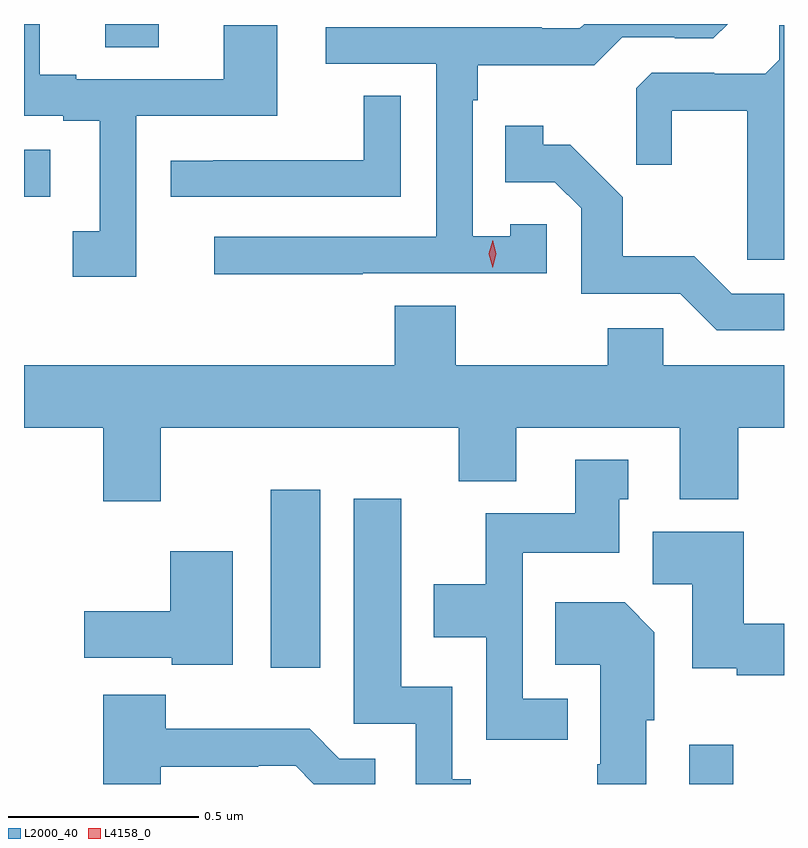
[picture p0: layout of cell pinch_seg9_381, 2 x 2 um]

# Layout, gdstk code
import gdstk
lib = gdstk.Library(unit=1e-6, precision=1e-09)
def R(c, l, rs):  # rectangles x0, y0, x1, y1
    for r in rs: c.add(gdstk.rectangle(r[:2], r[2:], *l))
def P(c, l, *ps):  # polygons
    for p in ps: c.add(gdstk.Polygon(p, *l))
L2000_40 = (2000, 40)
L4158_0 = (4158, 0)

pinch_seg9_381 = lib.new_cell('pinch_seg9_381')
R(pinch_seg9_381, L2000_40, [(379.584,1210.134,379.7,1210.237), (378.482,1210.44,378.613,1210.909), (377.833,1211.679,377.902,1211.803), (378.047,1212.073,378.187,1212.134)])
P(pinch_seg9_381, L2000_40, [(378.129,1211.892),(378.499,1211.892),(378.499,1212.131),(378.359,1212.131),(378.359,1211.988),(377.971,1211.988),(377.971,1212.001),(377.875,1212.001),(377.875,1212.134),(377.833,1212.134),(377.833,1211.892),(377.936,1211.892),(377.936,1211.88),(378.032,1211.88),(378.032,1211.589),(377.961,1211.589),(377.961,1211.469),(378.129,1211.469)],
  [(378.725,1211.478),(379.209,1211.478),(379.209,1211.607),(379.113,1211.607),(379.113,1211.575),(379.014,1211.575),(379.014,1211.933),(379.027,1211.933),(379.027,1212.026),(379.334,1212.026),(379.407,1212.099),(379.546,1212.099),(379.546,1212.096),(379.647,1212.096),(379.685,1212.134),(379.307,1212.134),(379.296,1212.123),(379.196,1212.123),(379.196,1212.126),(378.627,1212.126),(378.627,1212.03),(378.918,1212.03),(378.918,1211.574),(378.333,1211.574),(378.333,1211.476),(378.725,1211.476)],
  [(379.833,1212.131),(379.821,1212.131),(379.821,1212.04),(379.784,1212.003),(379.65,1212.003),(379.65,1212.006),(379.485,1212.006),(379.444,1211.965),(379.444,1211.763),(379.538,1211.763),(379.538,1211.906),(379.736,1211.906),(379.736,1211.514),(379.833,1211.514)],
  [(378.825,1211.945),(378.727,1211.945),(378.727,1211.775),(378.331,1211.775),(378.331,1211.774),(378.219,1211.774),(378.219,1211.679),(378.825,1211.679)],
  [(379.833,1211.424),(379.695,1211.424),(379.597,1211.523),(379.408,1211.523),(379.408,1211.678),(379.27,1211.816),(379.2,1211.816),(379.2,1211.866),(379.099,1211.866),(379.099,1211.718),(379.23,1211.718),(379.299,1211.649),(379.299,1211.424),(379.56,1211.424),(379.656,1211.328),(379.833,1211.328)],
  [(378.193,1211.072),(378.977,1211.072),(378.977,1210.931),(379.129,1210.931),(379.129,1211.072),(379.559,1211.072),(379.559,1210.883),(379.712,1210.883),(379.712,1211.072),(379.833,1211.072),(379.833,1211.236),(379.515,1211.236),(379.515,1211.334),(379.369,1211.334),(379.369,1211.236),(378.969,1211.236),(378.969,1211.393),(378.809,1211.393),(378.809,1211.236),(377.833,1211.236),(377.833,1211.072),(378.041,1211.072),(378.041,1210.878),(378.193,1210.878)],
  [(379.264,1210.359),(379.146,1210.359),(379.146,1210.742),(379.399,1210.742),(379.399,1210.884),(379.423,1210.884),(379.423,1210.987),(379.283,1210.987),(379.283,1210.846),(379.048,1210.846),(379.048,1210.66),(378.911,1210.66),(378.911,1210.52),(379.05,1210.52),(379.05,1210.251),(379.264,1210.251)],
  [(379.008,1210.146),(378.96,1210.146),(378.96,1210.39),(378.826,1210.39),(378.826,1210.885),(378.701,1210.885),(378.701,1210.293),(378.864,1210.293),(378.864,1210.134),(379.008,1210.134)],
  [(379.833,1210.556),(379.727,1210.556),(379.727,1210.798),(379.487,1210.798),(379.487,1210.66),(379.592,1210.66),(379.592,1210.439),(379.708,1210.439),(379.708,1210.42),(379.833,1210.42)],
  [(378.382,1210.747),(378.218,1210.747),(378.218,1210.588),(377.991,1210.588),(377.991,1210.466),(378.222,1210.466),(378.222,1210.448),(378.382,1210.448)],
  [(379.471,1210.302),(379.492,1210.302),(379.492,1210.534),(379.414,1210.612),(379.231,1210.612),(379.231,1210.448),(379.349,1210.448),(379.349,1210.186),(379.342,1210.186),(379.342,1210.134),(379.471,1210.134)],
  [(378.193,1210.179),(378.449,1210.179),(378.449,1210.182),(378.548,1210.182),(378.596,1210.134),(378.757,1210.134),(378.757,1210.2),(378.663,1210.2),(378.585,1210.279),(378.206,1210.279),(378.206,1210.369),(378.041,1210.369),(378.041,1210.134),(378.193,1210.134)])
P(pinch_seg9_381, L4158_0, [(379.066,1211.493),(379.066,1211.493),(379.056,1211.529),(379.067,1211.565),(379.067,1211.565),(379.067,1211.565),(379.076,1211.529),(379.066,1211.493)])

lib.write_gds('pinch_seg9_381.gds')
